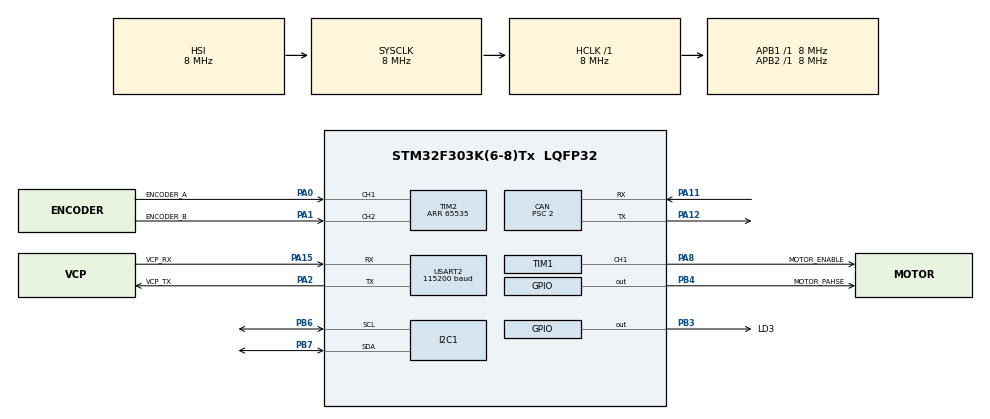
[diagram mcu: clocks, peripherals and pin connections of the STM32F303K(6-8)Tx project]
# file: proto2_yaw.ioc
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CAN.BS1=CAN_BS1_7TQ
CAN.BS2=CAN_BS2_2TQ
CAN.CalculateBaudRate=400000
CAN.CalculateTimeBit=2500
CAN.CalculateTimeQuantum=250.0
CAN.Prescaler=2
I2C1.I2C_Fall_Time=0
I2C1.I2C_Rise_Time=0
Mcu.Family=STM32F3
Mcu.Name=STM32F303K(6-8)Tx
Mcu.Package=LQFP32
NVIC.CAN_RX0_IRQn=true\:0\:0\:false\:false\:true\:true\:true\:true
NVIC.PriorityGroup=NVIC_PRIORITYGROUP_4
NVIC.TIM1_BRK_TIM15_IRQn=true\:0\:0\:false\:false\:true\:true\:true\:true
PA0.GPIO_Label=ENCODER_A
PA0.Signal=S_TIM2_CH1_ETR
PA1.GPIO_Label=ENCODER_B
PA1.Signal=S_TIM2_CH2
PA11.Mode=CAN_Activate
PA11.Signal=CAN_RX
PA12.Mode=CAN_Activate
PA12.Signal=CAN_TX
PA13.GPIO_Label=SWDIO
PA13.Mode=Serial_Wire
PA13.Signal=SYS_JTMS-SWDIO
PA14.GPIO_Label=SWCLK
PA14.Mode=Serial_Wire
PA14.Signal=SYS_JTCK-SWCLK
PA15.GPIO_Label=VCP_RX
PA15.Mode=Asynchronous
PA15.Signal=USART2_RX
PA2.GPIO_Label=VCP_TX
PA2.Mode=Asynchronous
PA2.Signal=USART2_TX
PA8.GPIO_Label=MOTOR_ENABLE
PA8.Signal=S_TIM1_CH1
PB3.GPIO_Label=LD3
PB3.Signal=GPIO_Output
PB4.GPIO_Label=MOTOR_PAHSE
PB4.Signal=GPIO_Output
PB6.Mode=I2C
PB6.Signal=I2C1_SCL
PB7.Mode=I2C
PB7.Signal=I2C1_SDA
PF0\ /\ OSC_IN.GPIO_Label=MCO
PF0\ /\ OSC_IN.Mode=HSE-External-Clock-Source
PF0\ /\ OSC_IN.Signal=RCC_OSC_IN
ProjectManager.HeapSize=0x200
ProjectManager.StackSize=0x400
ProjectManager.TargetToolchain=STM32CubeIDE
RCC.AHBFreq_Value=8000000
RCC.APB1Freq_Value=8000000
RCC.APB2Freq_Value=8000000
RCC.CortexFreq_Value=8000000
RCC.HSE_VALUE=8000000
RCC.HSI_VALUE=8000000
RCC.SYSCLKFreq_VALUE=8000000
SH.S_TIM1_CH1.0=TIM1_CH1,PWM Generation1 CH1
SH.S_TIM2_CH1_ETR.0=TIM2_CH1,Encoder_Interface
SH.S_TIM2_CH2.0=TIM2_CH2,Encoder_Interface
TIM1.Channel-PWM\ Generation1\ CH1=TIM_CHANNEL_1
TIM1.Period=1000-1
TIM1.Prescaler=8-1
TIM15.Period=1000-1
TIM15.Prescaler=8-1
TIM2.EncoderMode=TIM_ENCODERMODE_TI12
TIM2.Period=65535
USART2.BaudRate=115200
USART2.VirtualMode-Asynchronous=VM_ASYNC
VP_TIM15_VS_ClockSourceINT.Mode=Internal
board=NUCLEO-F303K8

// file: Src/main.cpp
/* USER CODE BEGIN Header */
/**
  ******************************************************************************
  * @file           : main.c
  * @brief          : Main program body
  ******************************************************************************
  * @attention
  *
  * Copyright (c) 2025 STMicroelectronics.
  * All rights reserved.
  *
  * This software is licensed under terms that can be found in the LICENSE file
  * in the root directory of this software component.
  * If no LICENSE file comes with this software, it is provided AS-IS.
  *
  ******************************************************************************
  */
/* USER CODE END Header */
#include "main.h"
#include "can.h"
#include "i2c.h"
#include "tim.h"
#include "usart.h"
#include "gpio.h"

/* USER CODE BEGIN Includes */
#include "rabcl/utils/type.hpp"
#include "rabcl/interface/can.hpp"
#include "rabcl/component/jga25_370.hpp"
#include "rabcl/controller/omni_drive.hpp"

#include <stdio.h>
#include <string.h>
/* USER CODE END Includes */

/* USER CODE BEGIN PD */
uint16_t control_count = 0;
char printf_buf[100];

rabcl::Info robot_data;
rabcl::JGA25_370* yaw_motor;

/* USER CODE END PD */

void SystemClock_Config(void);

/* USER CODE BEGIN 0 */
int16_t read_tim2_encoder_value()
{
  uint16_t enc_buff = TIM2->CNT;
  int16_t enc_count = (int16_t)enc_buff - 32767;
  TIM2->CNT = 32767;
  return enc_count;
}

void HAL_TIM_PeriodElapsedCallback(TIM_HandleTypeDef *htim)
{
  if (htim == &htim15)
  {
    control_count++;
    if (control_count >= 10) // 100Hz
    {
      control_count = 0;

      // ---yaw motor
      yaw_motor->SetCmdVel(robot_data.yaw_vel_);
      // snprintf(printf_buf, 100, "robot_data.yaw_vel: %f[rad/s]\n", robot_data.yaw_vel_);
      // HAL_UART_Transmit(&huart2, (uint8_t*)printf_buf, strlen(printf_buf), 1000);

      yaw_motor->SetEncoderCount(read_tim2_encoder_value());
      yaw_motor->UpdataEncoder();
      // snprintf(printf_buf, 100, "yaw_act_vel: %f[rad/s]\n", yaw_motor->GetActVel());
      // HAL_UART_Transmit(&huart2, (uint8_t*)printf_buf, strlen(printf_buf), 1000);
      // snprintf(printf_buf, 100, "yaw_act_pos: %f[rad], %f[deg]\n", yaw_motor->GetActPos(), yaw_motor->GetActPos() * 57.295779513);
      // HAL_UART_Transmit(&huart2, (uint8_t*)printf_buf, strlen(printf_buf), 1000);

      int16_t output = yaw_motor->CalcMotorOutput();
      // snprintf(printf_buf, 100, "yaw_output: %d[count]\n", output);
      // HAL_UART_Transmit(&huart2, (uint8_t*)printf_buf, strlen(printf_buf), 1000);
      if (output > 0)
      {
        HAL_GPIO_WritePin(MOTOR_PAHSE_GPIO_Port, MOTOR_PAHSE_Pin, GPIO_PIN_SET);
      }
      else
      {
        output *= -1;
        HAL_GPIO_WritePin(MOTOR_PAHSE_GPIO_Port, MOTOR_PAHSE_Pin, GPIO_PIN_RESET);
      }

      __HAL_TIM_SET_COMPARE(&htim1, TIM_CHANNEL_1, (uint16_t)output);
      // snprintf(printf_buf, 100, "yaw_cmd_vel: %f[rad/s]\n", yaw_motor->GetCmdVel());
      // HAL_UART_Transmit(&huart2, (uint8_t*)printf_buf, strlen(printf_buf), 1000);
    }
  }
}

void HAL_CAN_RxFifo0MsgPendingCallback(CAN_HandleTypeDef *hcan)
{
  CAN_RxHeaderTypeDef RxHeader;
  uint8_t RxData[8];
  if (HAL_CAN_GetRxMessage(hcan, CAN_RX_FIFO0, &RxHeader, RxData) == HAL_OK)
  {
    if (rabcl::Can::UpdateData(RxHeader.StdId, RxData, robot_data))
    {
      HAL_GPIO_TogglePin(LD3_GPIO_Port, LD3_Pin);
    }
  }
}
/* USER CODE END 0 */

int main(void)
{

  /* USER CODE BEGIN 1 */
  yaw_motor = new rabcl::JGA25_370(1000 - 1, 75.0 * (38.0 / 25.0));
  /* USER CODE END 1 */

  /* MCU Configuration--------------------------------------------------------*/

  /* Reset of all peripherals, Initializes the Flash interface and the Systick. */
  HAL_Init();

  /* Configure the system clock */
  SystemClock_Config();

  /* Initialize all configured peripherals */
  MX_GPIO_Init();
  MX_CAN_Init();
  MX_I2C1_Init();
  MX_TIM1_Init();
  MX_TIM2_Init();
  MX_TIM15_Init();
  MX_USART2_UART_Init();
  /* USER CODE BEGIN 2 */
  // ---start PWM
  HAL_TIM_PWM_Start(&htim1, TIM_CHANNEL_1);

  // ---start interrupt processing
  HAL_TIM_Encoder_Start(&htim2, TIM_CHANNEL_ALL);
  HAL_CAN_Start(&hcan);
  if (HAL_CAN_ActivateNotification(&hcan, CAN_IT_RX_FIFO0_MSG_PENDING) != HAL_OK)
  {
    Error_Handler();
  }
  TIM2->CNT = 32767;
  HAL_TIM_Base_Start_IT(&htim15);

  /* USER CODE END 2 */

  /* Infinite loop */
  while (1)
  {

  }
}

void SystemClock_Config(void)
{
  RCC_OscInitTypeDef RCC_OscInitStruct = {0};
  RCC_ClkInitTypeDef RCC_ClkInitStruct = {0};
  RCC_PeriphCLKInitTypeDef PeriphClkInit = {0};

  /** Initializes the RCC Oscillators according to the specified parameters
  * in the RCC_OscInitTypeDef structure.
  */
  RCC_OscInitStruct.OscillatorType = RCC_OSCILLATORTYPE_HSI;
  RCC_OscInitStruct.HSIState = RCC_HSI_ON;
  RCC_OscInitStruct.HSICalibrationValue = RCC_HSICALIBRATION_DEFAULT;
  RCC_OscInitStruct.PLL.PLLState = RCC_PLL_NONE;
  if (HAL_RCC_OscConfig(&RCC_OscInitStruct) != HAL_OK)
  {
    Error_Handler();
  }

  /** Initializes the CPU, AHB and APB buses clocks
  */
  RCC_ClkInitStruct.ClockType = RCC_CLOCKTYPE_HCLK|RCC_CLOCKTYPE_SYSCLK
                              |RCC_CLOCKTYPE_PCLK1|RCC_CLOCKTYPE_PCLK2;
  RCC_ClkInitStruct.SYSCLKSource = RCC_SYSCLKSOURCE_HSI;
  RCC_ClkInitStruct.AHBCLKDivider = RCC_SYSCLK_DIV1;
  RCC_ClkInitStruct.APB1CLKDivider = RCC_HCLK_DIV1;
  RCC_ClkInitStruct.APB2CLKDivider = RCC_HCLK_DIV1;

  if (HAL_RCC_ClockConfig(&RCC_ClkInitStruct, FLASH_LATENCY_0) != HAL_OK)
  {
    Error_Handler();
  }
  PeriphClkInit.PeriphClockSelection = RCC_PERIPHCLK_I2C1|RCC_PERIPHCLK_TIM1;
  PeriphClkInit.I2c1ClockSelection = RCC_I2C1CLKSOURCE_HSI;
  PeriphClkInit.Tim1ClockSelection = RCC_TIM1CLK_HCLK;
  if (HAL_RCCEx_PeriphCLKConfig(&PeriphClkInit) != HAL_OK)
  {
    Error_Handler();
  }
}

void Error_Handler(void)
{
  __disable_irq();
  while (1)
  {
  }
}
